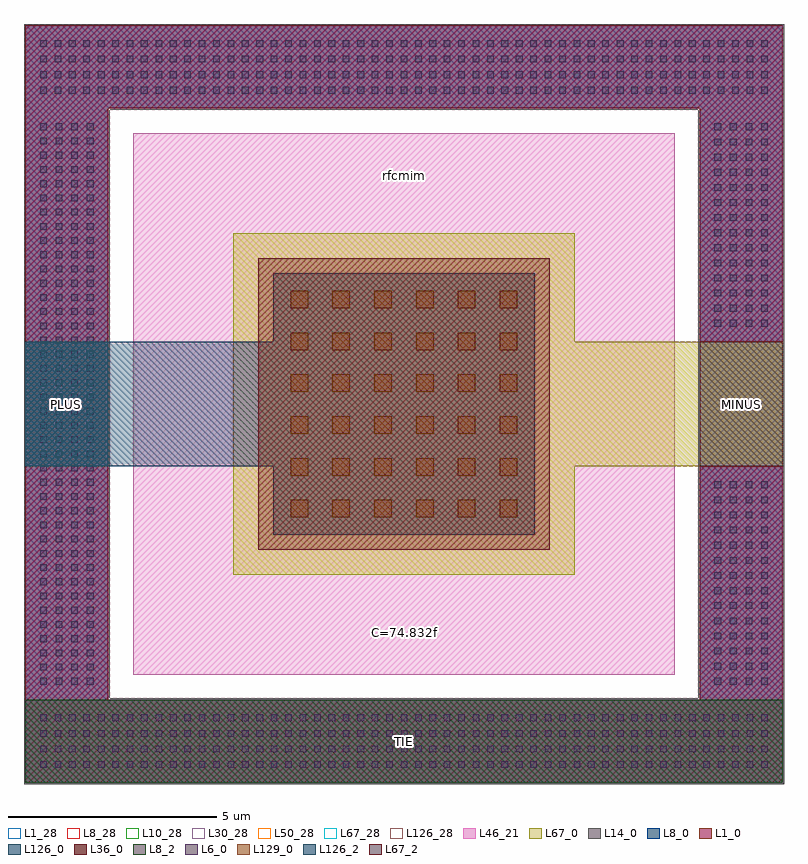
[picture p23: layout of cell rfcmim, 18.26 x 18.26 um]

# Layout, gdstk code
import gdstk
lib = gdstk.Library(unit=1e-6, precision=1e-09)
def R(c, l, rs):  # rectangles x0, y0, x1, y1
    for r in rs: c.add(gdstk.rectangle(r[:2], r[2:], *l))
def A(c, l, x, y, w, h, nx, ny, dx, dy):  # array of equal rectangles
    R(c, l, [(x+i*dx, y+j*dy, x+i*dx+w, y+j*dy+h) for i in range(nx) for j in range(ny)])
def P(c, l, *ps):  # polygons
    for p in ps: c.add(gdstk.Polygon(p, *l))
L1_0 = (1, 0)
L1_28 = (1, 28)
L6_0 = (6, 0)
L8_0 = (8, 0)
L8_2 = (8, 2)
L8_28 = (8, 28)
L10_28 = (10, 28)
L14_0 = (14, 0)
L30_28 = (30, 28)
L36_0 = (36, 0)
L46_21 = (46, 21)
L50_28 = (50, 28)
L67_0 = (67, 0)
L67_2 = (67, 2)
L67_28 = (67, 28)
L126_0 = (126, 0)
L126_2 = (126, 2)
L126_28 = (126, 28)
L129_0 = (129, 0)

rfcmim = lib.new_cell('rfcmim')
P(rfcmim, L1_0, [(-5.6,-5.6),(-5.6,12.6),(12.6,12.6),(12.6,5),(10.6,5),(10.6,10.6),(-3.6,10.6),(-3.6,-3.6),(10.6,-3.6),(10.6,2),(12.6,2),(12.6,-5.6)])
R(rfcmim, L1_28, [(-5.6,-5.6,12.6,12.6)])
A(rfcmim, L6_0, -5.24, -5.24, 0.16, 0.16, 4, 2, 0.345, 0.37)
A(rfcmim, L6_0, -3.855, -5.24, 0.16, 0.16, 4, 2, 0.345, 0.37)
A(rfcmim, L6_0, -2.47, -5.24, 0.16, 0.16, 3, 2, 0.345, 0.37)
A(rfcmim, L6_0, -1.43, -5.24, 0.16, 0.16, 4, 2, 0.345, 0.37)
A(rfcmim, L6_0, -0.045, -5.24, 0.16, 0.16, 3, 2, 0.345, 0.37)
A(rfcmim, L6_0, 0.995, -5.24, 0.16, 0.16, 4, 2, 0.345, 0.37)
A(rfcmim, L6_0, 2.38, -5.24, 0.16, 0.16, 3, 2, 0.345, 0.37)
A(rfcmim, L6_0, 3.42, -5.24, 0.16, 0.16, 4, 2, 0.345, 0.37)
A(rfcmim, L6_0, 4.805, -5.24, 0.16, 0.16, 4, 2, 0.345, 0.37)
A(rfcmim, L6_0, 6.19, -5.24, 0.16, 0.16, 3, 2, 0.345, 0.37)
A(rfcmim, L6_0, 7.23, -5.24, 0.16, 0.16, 4, 2, 0.345, 0.37)
A(rfcmim, L6_0, 8.615, -5.24, 0.16, 0.16, 3, 2, 0.345, 0.37)
A(rfcmim, L6_0, 9.655, -5.24, 0.16, 0.16, 4, 2, 0.345, 0.37)
A(rfcmim, L6_0, 11.04, -5.24, 0.16, 0.16, 3, 2, 0.345, 0.37)
A(rfcmim, L6_0, 12.08, -4.87, 0.16, 0.16, 1, 3, 0, 0.375)
A(rfcmim, L6_0, -5.24, -4.495, 0.16, 0.16, 4, 2, 0.345, 0.375)
A(rfcmim, L6_0, -3.855, -4.495, 0.16, 0.16, 4, 2, 0.345, 0.375)
A(rfcmim, L6_0, -2.47, -4.495, 0.16, 0.16, 3, 2, 0.345, 0.375)
A(rfcmim, L6_0, -1.43, -4.495, 0.16, 0.16, 4, 2, 0.345, 0.375)
A(rfcmim, L6_0, -0.045, -4.495, 0.16, 0.16, 3, 2, 0.345, 0.375)
A(rfcmim, L6_0, 0.995, -4.495, 0.16, 0.16, 4, 2, 0.345, 0.375)
A(rfcmim, L6_0, 2.38, -4.495, 0.16, 0.16, 3, 2, 0.345, 0.375)
A(rfcmim, L6_0, 3.42, -4.495, 0.16, 0.16, 4, 2, 0.345, 0.375)
A(rfcmim, L6_0, 4.805, -4.495, 0.16, 0.16, 4, 2, 0.345, 0.375)
A(rfcmim, L6_0, 6.19, -4.495, 0.16, 0.16, 3, 2, 0.345, 0.375)
A(rfcmim, L6_0, 7.23, -4.495, 0.16, 0.16, 4, 2, 0.345, 0.375)
A(rfcmim, L6_0, 8.615, -4.495, 0.16, 0.16, 3, 2, 0.345, 0.375)
A(rfcmim, L6_0, 9.655, -4.495, 0.16, 0.16, 4, 2, 0.345, 0.375)
A(rfcmim, L6_0, 11.04, -4.495, 0.16, 0.16, 3, 2, 0.345, 0.375)
A(rfcmim, L6_0, -5.24, -3.24, 0.16, 0.16, 1, 4, 0, 0.34)
A(rfcmim, L6_0, -4.87, -3.24, 0.16, 0.16, 3, 4, 0.375, 0.34)
A(rfcmim, L6_0, 11.33, -3.24, 0.16, 0.16, 3, 2, 0.375, 0.36)
A(rfcmim, L6_0, 11.33, -2.515, 0.16, 0.16, 3, 2, 0.375, 0.36)
A(rfcmim, L6_0, 10.96, -2.155, 0.16, 0.16, 1, 3, 0, 0.365)
A(rfcmim, L6_0, -5.24, -1.875, 0.16, 0.16, 1, 3, 0, 0.34)
A(rfcmim, L6_0, -4.87, -1.875, 0.16, 0.16, 3, 3, 0.375, 0.34)
A(rfcmim, L6_0, 11.33, -1.79, 0.16, 0.16, 3, 2, 0.375, 0.365)
A(rfcmim, L6_0, 11.33, -1.065, 0.16, 0.16, 3, 2, 0.375, 0.365)
A(rfcmim, L6_0, -5.24, -0.85, 0.16, 0.16, 1, 3, 0, 0.34)
A(rfcmim, L6_0, -4.87, -0.85, 0.16, 0.16, 3, 3, 0.375, 0.34)
A(rfcmim, L6_0, 10.96, -0.34, 0.16, 0.16, 1, 3, 0, 0.365)
A(rfcmim, L6_0, 11.33, -0.34, 0.16, 0.16, 3, 3, 0.375, 0.365)
A(rfcmim, L6_0, -5.24, 0.175, 0.16, 0.16, 1, 3, 0, 0.34)
A(rfcmim, L6_0, -4.87, 0.175, 0.16, 0.16, 3, 3, 0.375, 0.34)
A(rfcmim, L6_0, 10.96, 0.75, 0.16, 0.16, 1, 3, 0, 0.365)
A(rfcmim, L6_0, 11.33, 0.75, 0.16, 0.16, 3, 3, 0.375, 0.365)
A(rfcmim, L6_0, -5.24, 1.2, 0.16, 0.16, 1, 4, 0, 0.34)
A(rfcmim, L6_0, -4.87, 1.2, 0.16, 0.16, 3, 4, 0.375, 0.34)
A(rfcmim, L6_0, -5.24, 2.565, 0.16, 0.16, 1, 3, 0, 0.34)
A(rfcmim, L6_0, -4.87, 2.565, 0.16, 0.16, 3, 3, 0.375, 0.34)
A(rfcmim, L6_0, -5.24, 3.59, 0.16, 0.16, 1, 3, 0, 0.34)
A(rfcmim, L6_0, -4.87, 3.59, 0.16, 0.16, 3, 3, 0.375, 0.34)
A(rfcmim, L6_0, -5.24, 4.615, 0.16, 0.16, 1, 3, 0, 0.34)
A(rfcmim, L6_0, -4.87, 4.615, 0.16, 0.16, 3, 3, 0.375, 0.34)
A(rfcmim, L6_0, 11.33, 5.36, 0.16, 0.16, 3, 2, 0.375, 0.36)
A(rfcmim, L6_0, -5.24, 5.64, 0.16, 0.16, 1, 4, 0, 0.34)
A(rfcmim, L6_0, -4.87, 5.64, 0.16, 0.16, 3, 4, 0.375, 0.34)
A(rfcmim, L6_0, 11.33, 6.085, 0.16, 0.16, 3, 2, 0.375, 0.36)
A(rfcmim, L6_0, 10.96, 6.445, 0.16, 0.16, 1, 3, 0, 0.365)
A(rfcmim, L6_0, 11.33, 6.81, 0.16, 0.16, 3, 2, 0.375, 0.365)
A(rfcmim, L6_0, -5.24, 7.005, 0.16, 0.16, 1, 3, 0, 0.34)
A(rfcmim, L6_0, -4.87, 7.005, 0.16, 0.16, 3, 3, 0.375, 0.34)
A(rfcmim, L6_0, 11.33, 7.535, 0.16, 0.16, 3, 2, 0.375, 0.365)
A(rfcmim, L6_0, -5.24, 8.03, 0.16, 0.16, 1, 3, 0, 0.34)
A(rfcmim, L6_0, -4.87, 8.03, 0.16, 0.16, 3, 3, 0.375, 0.34)
A(rfcmim, L6_0, 10.96, 8.26, 0.16, 0.16, 1, 3, 0, 0.365)
A(rfcmim, L6_0, 11.33, 8.26, 0.16, 0.16, 3, 3, 0.375, 0.365)
A(rfcmim, L6_0, -5.24, 9.055, 0.16, 0.16, 1, 3, 0, 0.34)
A(rfcmim, L6_0, -4.87, 9.055, 0.16, 0.16, 3, 3, 0.375, 0.34)
A(rfcmim, L6_0, 10.96, 9.35, 0.16, 0.16, 1, 3, 0, 0.365)
A(rfcmim, L6_0, 11.33, 9.35, 0.16, 0.16, 3, 3, 0.375, 0.365)
A(rfcmim, L6_0, -4.87, 10.08, 0.16, 0.16, 3, 1, 0.375, 0)
A(rfcmim, L6_0, -5.24, 10.96, 0.16, 0.16, 4, 2, 0.345, 0.37)
A(rfcmim, L6_0, -3.855, 10.96, 0.16, 0.16, 4, 2, 0.345, 0.37)
A(rfcmim, L6_0, -2.47, 10.96, 0.16, 0.16, 3, 2, 0.345, 0.37)
A(rfcmim, L6_0, -1.43, 10.96, 0.16, 0.16, 4, 2, 0.345, 0.37)
A(rfcmim, L6_0, -0.045, 10.96, 0.16, 0.16, 3, 2, 0.345, 0.37)
A(rfcmim, L6_0, 0.995, 10.96, 0.16, 0.16, 4, 2, 0.345, 0.37)
A(rfcmim, L6_0, 2.38, 10.96, 0.16, 0.16, 3, 2, 0.345, 0.37)
A(rfcmim, L6_0, 3.42, 10.96, 0.16, 0.16, 4, 2, 0.345, 0.37)
A(rfcmim, L6_0, 4.805, 10.96, 0.16, 0.16, 4, 2, 0.345, 0.37)
A(rfcmim, L6_0, 6.19, 10.96, 0.16, 0.16, 3, 2, 0.345, 0.37)
A(rfcmim, L6_0, 7.23, 10.96, 0.16, 0.16, 4, 2, 0.345, 0.37)
A(rfcmim, L6_0, 8.615, 10.96, 0.16, 0.16, 3, 2, 0.345, 0.37)
A(rfcmim, L6_0, 9.655, 10.96, 0.16, 0.16, 4, 2, 0.345, 0.37)
A(rfcmim, L6_0, 11.04, 10.96, 0.16, 0.16, 3, 2, 0.345, 0.37)
A(rfcmim, L6_0, 12.08, 11.33, 0.16, 0.16, 1, 3, 0, 0.375)
A(rfcmim, L6_0, -5.24, 11.705, 0.16, 0.16, 4, 2, 0.345, 0.375)
A(rfcmim, L6_0, -3.855, 11.705, 0.16, 0.16, 4, 2, 0.345, 0.375)
A(rfcmim, L6_0, -2.47, 11.705, 0.16, 0.16, 3, 2, 0.345, 0.375)
A(rfcmim, L6_0, -1.43, 11.705, 0.16, 0.16, 4, 2, 0.345, 0.375)
A(rfcmim, L6_0, -0.045, 11.705, 0.16, 0.16, 3, 2, 0.345, 0.375)
A(rfcmim, L6_0, 0.995, 11.705, 0.16, 0.16, 4, 2, 0.345, 0.375)
A(rfcmim, L6_0, 2.38, 11.705, 0.16, 0.16, 3, 2, 0.345, 0.375)
A(rfcmim, L6_0, 3.42, 11.705, 0.16, 0.16, 4, 2, 0.345, 0.375)
A(rfcmim, L6_0, 4.805, 11.705, 0.16, 0.16, 4, 2, 0.345, 0.375)
A(rfcmim, L6_0, 6.19, 11.705, 0.16, 0.16, 3, 2, 0.345, 0.375)
A(rfcmim, L6_0, 7.23, 11.705, 0.16, 0.16, 4, 2, 0.345, 0.375)
A(rfcmim, L6_0, 8.615, 11.705, 0.16, 0.16, 3, 2, 0.345, 0.375)
A(rfcmim, L6_0, 9.655, 11.705, 0.16, 0.16, 4, 2, 0.345, 0.375)
A(rfcmim, L6_0, 11.04, 11.705, 0.16, 0.16, 3, 2, 0.345, 0.375)
R(rfcmim, L6_0, [(12.08,-5.24,12.24,-5.08), (10.96,-3.24,11.12,-3.08), (10.96,-2.88,11.12,-2.72), (10.96,-2.515,11.12,-2.355), (10.96,-1.065,11.12,-0.905), (10.96,-0.7,11.12,-0.54), (10.96,5.36,11.12,5.52), (10.96,5.72,11.12,5.88), (10.96,6.085,11.12,6.245), (10.96,7.535,11.12,7.695), (10.96,7.9,11.12,8.06), (-5.24,10.08,-5.08,10.24), (12.08,10.96,12.24,11.12)])
P(rfcmim, L8_0, [(-5.6,-5.6),(-5.6,12.6),(12.6,12.6),(12.6,5),(10.6,5),(10.6,10.6),(-3.6,10.6),(-3.6,-3.6),(10.6,-3.6),(10.6,2),(12.6,2),(12.6,-5.6)])
R(rfcmim, L8_2, [(-5.6,-5.6,12.6,-3.6)])
R(rfcmim, L8_28, [(-5.6,-5.6,12.6,12.6)])
R(rfcmim, L10_28, [(-5.6,-5.6,12.6,12.6)])
P(rfcmim, L14_0, [(-5.63,-5.63),(-5.63,12.63),(10.57,12.63),(10.57,10.57),(-3.57,10.57),(-3.57,-3.57),(10.57,-3.57),(10.57,12.63),(12.63,12.63),(12.63,-5.63)])
R(rfcmim, L30_28, [(-5.6,-5.6,12.6,12.6)])
R(rfcmim, L36_0, [(0,0,7,7)])
R(rfcmim, L46_21, [(-3,-3,10,10)])
R(rfcmim, L50_28, [(-5.6,-5.6,12.6,12.6)])
R(rfcmim, L67_0, [(-0.6,-0.6,7.6,7.6), (-0.6,-0.6,7.6,7.6), (7.6,2,12.6,5)])
R(rfcmim, L67_2, [(10.6,2,12.6,5)])
R(rfcmim, L67_28, [(-5.6,-5.6,12.6,12.6)])
R(rfcmim, L126_0, [(0.36,0.36,6.64,6.64), (-5.6,2,0.36,5)])
R(rfcmim, L126_2, [(-5.6,2,-3.6,5)])
R(rfcmim, L126_28, [(-5.6,-5.6,12.6,12.6)])
A(rfcmim, L129_0, 1.78, 0.78, 0.42, 0.42, 5, 2, 1.005, 1)
A(rfcmim, L129_0, 0.78, 1.78, 0.42, 0.42, 1, 5, 0, 1.005)
A(rfcmim, L129_0, 1.78, 2.785, 0.42, 0.42, 5, 4, 1.005, 1.005)
R(rfcmim, L129_0, [(0.78,0.78,1.2,1.2)])
rfcmim.add(gdstk.Label('C=74.832f', (3.5,-2), layer=63, texttype=0))
rfcmim.add(gdstk.Label('rfcmim', (3.5,9), layer=63, texttype=0))
rfcmim.add(gdstk.Label('TIE', (3.5,-4.6), layer=63, texttype=0))
rfcmim.add(gdstk.Label('MINUS', (11.6,3.5), layer=63, texttype=0))
rfcmim.add(gdstk.Label('PLUS', (-4.6,3.5), layer=63, texttype=0))

lib.write_gds('rfcmim.gds')
